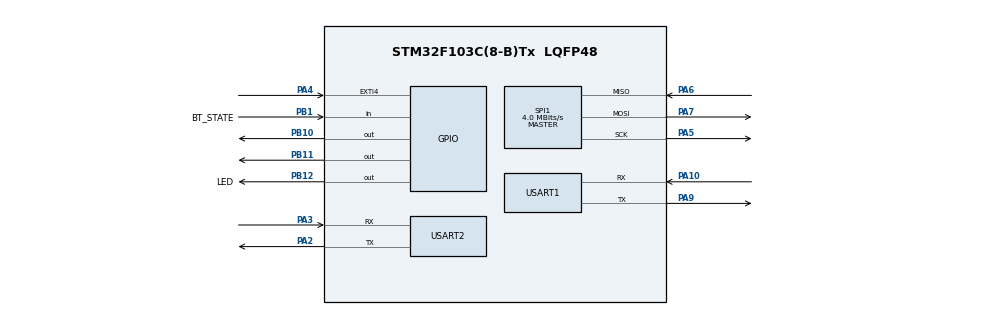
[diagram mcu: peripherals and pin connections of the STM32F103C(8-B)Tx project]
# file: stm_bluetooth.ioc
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Mcu.Family=STM32F1
Mcu.Name=STM32F103C(8-B)Tx
Mcu.Package=LQFP48
NVIC.PriorityGroup=NVIC_PRIORITYGROUP_4
NVIC.SPI1_IRQn=true\:0\:0\:false\:false\:true\:true\:true
NVIC.USART1_IRQn=true\:0\:0\:false\:false\:true\:true\:true
NVIC.USART2_IRQn=true\:0\:0\:false\:false\:true\:true\:true
PA10.Mode=Asynchronous
PA10.Signal=USART1_RX
PA13.Mode=Serial_Wire
PA13.Signal=SYS_JTMS-SWDIO
PA14.Mode=Serial_Wire
PA14.Signal=SYS_JTCK-SWCLK
PA2.Mode=Asynchronous
PA2.Signal=USART2_TX
PA3.Mode=Asynchronous
PA3.Signal=USART2_RX
PA4.Signal=GPXTI4
PA5.Mode=Full_Duplex_Master
PA5.Signal=SPI1_SCK
PA6.Mode=Full_Duplex_Master
PA6.Signal=SPI1_MISO
PA7.Mode=Full_Duplex_Master
PA7.Signal=SPI1_MOSI
PA9.Mode=Asynchronous
PA9.Signal=USART1_TX
PB1.GPIO_Label=BT_STATE
PB1.Signal=GPIO_Input
PB10.Signal=GPIO_Output
PB11.Signal=GPIO_Output
PB12.GPIO_Label=LED
PB12.Signal=GPIO_Output
ProjectManager.HeapSize=0x200
ProjectManager.StackSize=0x400
ProjectManager.TargetToolchain=STM32CubeIDE
RCC.APB1Freq_Value=8000000
RCC.APB2Freq_Value=8000000
SPI1.CalculateBaudRate=4.0 MBits/s
SPI1.Direction=SPI_DIRECTION_2LINES
SPI1.Mode=SPI_MODE_MASTER
SPI1.VirtualType=VM_MASTER
USART1.VirtualMode=VM_ASYNC
USART2.VirtualMode=VM_ASYNC
board=custom

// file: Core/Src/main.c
/* USER CODE BEGIN Header */
/**
  ******************************************************************************
  * @file           : main.c
  * @brief          : Main program body
  ******************************************************************************
  * @attention
  *
  * <h2><center>&copy; Copyright (c) 2020 STMicroelectronics.
  * All rights reserved.</center></h2>
  *
  * This software component is licensed by ST under BSD 3-Clause license,
  * the "License"; You may not use this file except in compliance with the
  * License. You may obtain a copy of the License at:
  *                        opensource.org/licenses/BSD-3-Clause
  *
  ******************************************************************************
  */
/* USER CODE END Header */

#include "main.h"

/* USER CODE BEGIN Includes */
#include <stdio.h>
#include <string.h>
/* USER CODE END Includes */

SPI_HandleTypeDef hspi1;

UART_HandleTypeDef huart1;
UART_HandleTypeDef huart2;

void SystemClock_Config(void);
static void MX_GPIO_Init(void);
static void MX_SPI1_Init(void);
static void MX_USART1_UART_Init(void);
static void MX_USART2_UART_Init(void);

/* USER CODE BEGIN 0 */

#define BT_CONNECTED 1
#define BT_FREE 0
int bt_status() {
	if (HAL_GPIO_ReadPin(BT_STATE_GPIO_Port, BT_STATE_Pin) == GPIO_PIN_SET) {
		return BT_CONNECTED;
	}
	else return BT_FREE;
}

int uart_fputs(UART_HandleTypeDef *huart, const char *msg) {
	return HAL_UART_Transmit(huart, (uint8_t *)msg, strlen(msg), 10);
}

void blink_led_fast() {
	for (int i = 1; i <= 10; i++) {
		HAL_GPIO_TogglePin(LED_GPIO_Port, LED_Pin);
		HAL_Delay(50);
	}
}
void blink_led_once() {
	HAL_GPIO_TogglePin(LED_GPIO_Port, LED_Pin);
}

/* USER CODE END 0 */

int main(void)
{

  /* MCU Configuration--------------------------------------------------------*/

  /* Reset of all peripherals, Initializes the Flash interface and the Systick. */
  HAL_Init();

  /* Configure the system clock */
  SystemClock_Config();

  /* Initialize all configured peripherals */
  MX_GPIO_Init();
  MX_SPI1_Init();
  MX_USART1_UART_Init();
  MX_USART2_UART_Init();
  /* USER CODE BEGIN 2 */
  uart_fputs(&huart1, "Setup\n");
  /* USER CODE END 2 */

  /* Infinite loop */
  while (1)
  {

    /* USER CODE BEGIN 3 */
	  int sta = bt_status();
	  if (sta == BT_CONNECTED) {
		  uart_fputs(&huart2, "BT Message Test\r\n");
		  uart_fputs(&huart1, "BT Message Sent Successful!\r\n");
		  blink_led_fast();
	  }
	  else {
		  uart_fputs(&huart1, "BT Device Not Connected\r\n");
		  blink_led_once();
	  }
	  HAL_Delay(2000);
  }
  /* USER CODE END 3 */
}

void SystemClock_Config(void)
{
  RCC_OscInitTypeDef RCC_OscInitStruct = {0};
  RCC_ClkInitTypeDef RCC_ClkInitStruct = {0};

  /** Initializes the CPU, AHB and APB busses clocks
  */
  RCC_OscInitStruct.OscillatorType = RCC_OSCILLATORTYPE_HSI;
  RCC_OscInitStruct.HSIState = RCC_HSI_ON;
  RCC_OscInitStruct.HSICalibrationValue = RCC_HSICALIBRATION_DEFAULT;
  RCC_OscInitStruct.PLL.PLLState = RCC_PLL_NONE;
  if (HAL_RCC_OscConfig(&RCC_OscInitStruct) != HAL_OK)
  {
    Error_Handler();
  }
  /** Initializes the CPU, AHB and APB busses clocks
  */
  RCC_ClkInitStruct.ClockType = RCC_CLOCKTYPE_HCLK|RCC_CLOCKTYPE_SYSCLK
                              |RCC_CLOCKTYPE_PCLK1|RCC_CLOCKTYPE_PCLK2;
  RCC_ClkInitStruct.SYSCLKSource = RCC_SYSCLKSOURCE_HSI;
  RCC_ClkInitStruct.AHBCLKDivider = RCC_SYSCLK_DIV1;
  RCC_ClkInitStruct.APB1CLKDivider = RCC_HCLK_DIV1;
  RCC_ClkInitStruct.APB2CLKDivider = RCC_HCLK_DIV1;

  if (HAL_RCC_ClockConfig(&RCC_ClkInitStruct, FLASH_LATENCY_0) != HAL_OK)
  {
    Error_Handler();
  }
}

static void MX_SPI1_Init(void)
{

  /* SPI1 parameter configuration*/
  hspi1.Instance = SPI1;
  hspi1.Init.Mode = SPI_MODE_MASTER;
  hspi1.Init.Direction = SPI_DIRECTION_2LINES;
  hspi1.Init.DataSize = SPI_DATASIZE_8BIT;
  hspi1.Init.CLKPolarity = SPI_POLARITY_LOW;
  hspi1.Init.CLKPhase = SPI_PHASE_1EDGE;
  hspi1.Init.NSS = SPI_NSS_SOFT;
  hspi1.Init.BaudRatePrescaler = SPI_BAUDRATEPRESCALER_2;
  hspi1.Init.FirstBit = SPI_FIRSTBIT_MSB;
  hspi1.Init.TIMode = SPI_TIMODE_DISABLE;
  hspi1.Init.CRCCalculation = SPI_CRCCALCULATION_DISABLE;
  hspi1.Init.CRCPolynomial = 10;
  if (HAL_SPI_Init(&hspi1) != HAL_OK)
  {
    Error_Handler();
  }

}

static void MX_USART1_UART_Init(void)
{

  huart1.Instance = USART1;
  huart1.Init.BaudRate = 115200;
  huart1.Init.WordLength = UART_WORDLENGTH_8B;
  huart1.Init.StopBits = UART_STOPBITS_1;
  huart1.Init.Parity = UART_PARITY_NONE;
  huart1.Init.Mode = UART_MODE_TX_RX;
  huart1.Init.HwFlowCtl = UART_HWCONTROL_NONE;
  huart1.Init.OverSampling = UART_OVERSAMPLING_16;
  if (HAL_UART_Init(&huart1) != HAL_OK)
  {
    Error_Handler();
  }

}

static void MX_USART2_UART_Init(void)
{

  huart2.Instance = USART2;
  huart2.Init.BaudRate = 115200;
  huart2.Init.WordLength = UART_WORDLENGTH_8B;
  huart2.Init.StopBits = UART_STOPBITS_1;
  huart2.Init.Parity = UART_PARITY_NONE;
  huart2.Init.Mode = UART_MODE_TX_RX;
  huart2.Init.HwFlowCtl = UART_HWCONTROL_NONE;
  huart2.Init.OverSampling = UART_OVERSAMPLING_16;
  if (HAL_UART_Init(&huart2) != HAL_OK)
  {
    Error_Handler();
  }

}

static void MX_GPIO_Init(void)
{
  GPIO_InitTypeDef GPIO_InitStruct = {0};

  /* GPIO Ports Clock Enable */
  __HAL_RCC_GPIOA_CLK_ENABLE();
  __HAL_RCC_GPIOB_CLK_ENABLE();

  /*Configure GPIO pin Output Level */
  HAL_GPIO_WritePin(GPIOB, GPIO_PIN_10|GPIO_PIN_11|LED_Pin, GPIO_PIN_RESET);

  /*Configure GPIO pin : PA4 */
  GPIO_InitStruct.Pin = GPIO_PIN_4;
  GPIO_InitStruct.Mode = GPIO_MODE_IT_RISING;
  GPIO_InitStruct.Pull = GPIO_NOPULL;
  HAL_GPIO_Init(GPIOA, &GPIO_InitStruct);

  /*Configure GPIO pin : BT_STATE_Pin */
  GPIO_InitStruct.Pin = BT_STATE_Pin;
  GPIO_InitStruct.Mode = GPIO_MODE_INPUT;
  GPIO_InitStruct.Pull = GPIO_NOPULL;
  HAL_GPIO_Init(BT_STATE_GPIO_Port, &GPIO_InitStruct);

  /*Configure GPIO pins : PB10 PB11 LED_Pin */
  GPIO_InitStruct.Pin = GPIO_PIN_10|GPIO_PIN_11|LED_Pin;
  GPIO_InitStruct.Mode = GPIO_MODE_OUTPUT_PP;
  GPIO_InitStruct.Pull = GPIO_NOPULL;
  GPIO_InitStruct.Speed = GPIO_SPEED_FREQ_LOW;
  HAL_GPIO_Init(GPIOB, &GPIO_InitStruct);

}

void Error_Handler(void)
{
}

/************************ (C) COPYRIGHT STMicroelectronics *****END OF FILE****/
